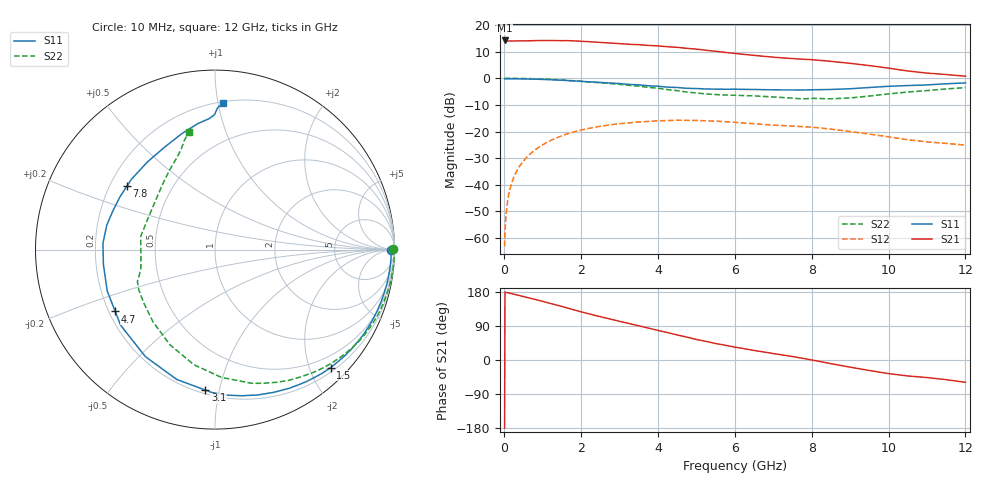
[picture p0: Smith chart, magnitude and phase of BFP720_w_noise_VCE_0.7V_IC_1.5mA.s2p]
! Infineon Technologies  Discrete & RF Semiconductors
! BFP720
! VCE =  0.7 V,  IC =  1.5 mA
! Common Emitter S-Parameters:  Aug 2012
# GHz  S  MA  R  50
!  f  S11  S21  S12  S22
! GHz  MAG  ANG  MAG  ANG  MAG  ANG  MAG  ANG
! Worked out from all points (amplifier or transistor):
!   105 points, 10 MHz to 12 GHz, reference 50 ohm
!   highest |S21| = 14.2 dB at 10 MHz (marker M1)
!   |S21| within 3 dB of that: start of sweep to 4.783 GHz
!   unconditionally stable (mu >= 1): start of sweep to 10.23 MHz; 8.624 GHz to end of sweep
!   at 300 MHz: K = 0.01, MSG = 24.8 dB, |S12| = -35.5 dB
!   at 3.6 GHz: K = 0.28, MSG = 14.4 dB, |S12| = -16.3 dB
!   at 12 GHz: K = 1.07, MAG = 11.3 dB, |S12| = -25.1 dB
!   lowest NFmin = 0.43 dB at 450 MHz
!   S11 on the Smith chart (normalised r, x): 10 MHz: 99, +0; 1.5 GHz: 0.27, -2.35; 3.1 GHz: 0.22, -0.91; 4.7 GHz: 0.23, -0.27; 7.8 GHz: 0.27, +0.30; 12 GHz: 0.21, +1.04
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0.01  0.98 -0.0  5.148 -179.6  0.0007 -0.1  0.9939 0.2
0.02  0.9808 -0.6  4.972 179.3  0.0014 98.9  0.9994 -0.5
0.03  0.9808 -0.8  4.989 179.0  0.0018 95.0  0.999 -0.7
0.09  0.982 -2.6  5.016 177.6  0.005 88.8  0.9991 -2.2
0.3  0.9784 -8.5  5.037 172.4  0.0167 84.0  0.9965 -7.2
1  0.9532 -29.6  5.13 154.8  0.0562 68.4  0.9708 -24.9
1.5  0.9203 -45.6  5.096 141.3  0.0832 56.3  0.9308 -37.9
1.8  0.8942 -55.4  5.058 132.7  0.0977 48.8  0.9001 -45.8
2.1  0.8671 -64.7  4.923 124.6  0.1105 41.6  0.8667 -53.3
2.6  0.8283 -79.5  4.684 111.9  0.1286 30.3  0.8136 -65.4
3.1  0.7845 -93.9  4.435 99.8  0.1421 19.5  0.7573 -77.1
3.5  0.7545 -106.3  4.289 90.1  0.1514 11.2  0.713 -87.1
4.1  0.6983 -126.5  4.007 75.8  0.1597 -1.0  0.6357 -103.1
4.7  0.654 -148.2  3.692 61.6  0.1621 -12.9  0.5596 -121.0
5  0.6432 -159.0  3.54 54.2  0.1619 -18.9  0.5304 -130.6
5.5  0.6272 -172.5  3.224 43.5  0.1568 -27.8  0.4955 -143.4
6.1  0.6225 174.9  2.887 32.3  0.1472 -36.8  0.4771 -153.4
7.8  0.6047 144.3  2.279 3.8  0.1229 -56.3  0.4133 179.4
8.5  0.617 127.4  2.087 -9.6  0.1112 -65.5  0.4118 155.4
9.5  0.6718 106.0  1.736 -27.7  0.0895 -74.1  0.464 129.4
10.5  0.7308 92.5  1.374 -42.1  0.0701 -77.4  0.5519 112.9
12  0.8205 86.7  1.096 -58.8  0.0555 -75.2  0.6692 102.6
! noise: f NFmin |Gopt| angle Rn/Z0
0.45  0.43  0.72  5  0.33
1.8  0.58  0.67  30  0.28
2.4  0.68  0.58  79  0.2
5.5  0.99  0.47  92  0.09
10  1.51  0.5  -113  0.24
